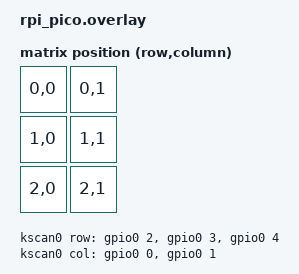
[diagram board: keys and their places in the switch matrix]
#include <dt-bindings/zmk/matrix_transform.h>

/ {
    chosen {
        /* 告诉 ZMK：键盘扫描用哪个 kscan 节点 */
        zmk,kscan = &kscan0;
        /* 告诉 ZMK：矩阵变换用哪个 transform（用来算 keymap 行列） */
        zmk,matrix-transform = &default_transform;
    };

    /* 3x2 的矩阵变换：3 行 2 列
     * 行: GP2, GP3, GP4
     * 列: GP0, GP1
     */
    default_transform: keymap_transform {
        compatible = "zmk,matrix-transform";
        columns = <2>;
        rows = <3>;

        /* 行优先，一共 6 个按键。后面 keymap 就写 6 个位置。 */
        map = <RC(0,0) RC(0,1)
               RC(1,0) RC(1,1)
               RC(2,0) RC(2,1)>;
    };

    /* 键盘矩阵扫描：GPIO 矩阵 kscan */
    kscan0: kscan {
        compatible = "zmk,kscan-gpio-matrix";
        label = "KSCAN";

        /* 行: GP2, GP3, GP4 */
        row-gpios = <&gpio0 2 GPIO_ACTIVE_LOW>,
                    <&gpio0 3 GPIO_ACTIVE_LOW>,
                    <&gpio0 4 GPIO_ACTIVE_LOW>;

        /* 列: GP0, GP1 */
        col-gpios = <&gpio0 0 GPIO_ACTIVE_LOW>,
                    <&gpio0 1 GPIO_ACTIVE_LOW>;

        diode-direction = "row2col";
    };
};

/* I2C1 + DRV2605L，GP7=SCL, GP6=SDA */
&i2c1 {
    status = "okay";
    clock-frequency = <I2C_BITRATE_STANDARD>;
    pinctrl-0 = <&i2c1_default>;
    pinctrl-names = "default";

    drv2605: haptics@5a {
        compatible = "ti,drv2605";
        reg = <0x5a>;
        status = "okay";

        actuator-mode = "ERM";
        feedback-brake-factor = "3X";
        loop-gain = "HIGH";
        vib-rated-mv = <3200>;
        vib-overdrive-mv = <3200>;
    };
};

/* I2C1 引脚映射到 GP7/GP6 */
&pinctrl {
    i2c1_default: i2c1_default {
        group1 {
            pinmux = <RP1_I2C1_SCL_GPIO7>,
                     <RP1_I2C1_SDA_GPIO6>;
        };
    };
};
